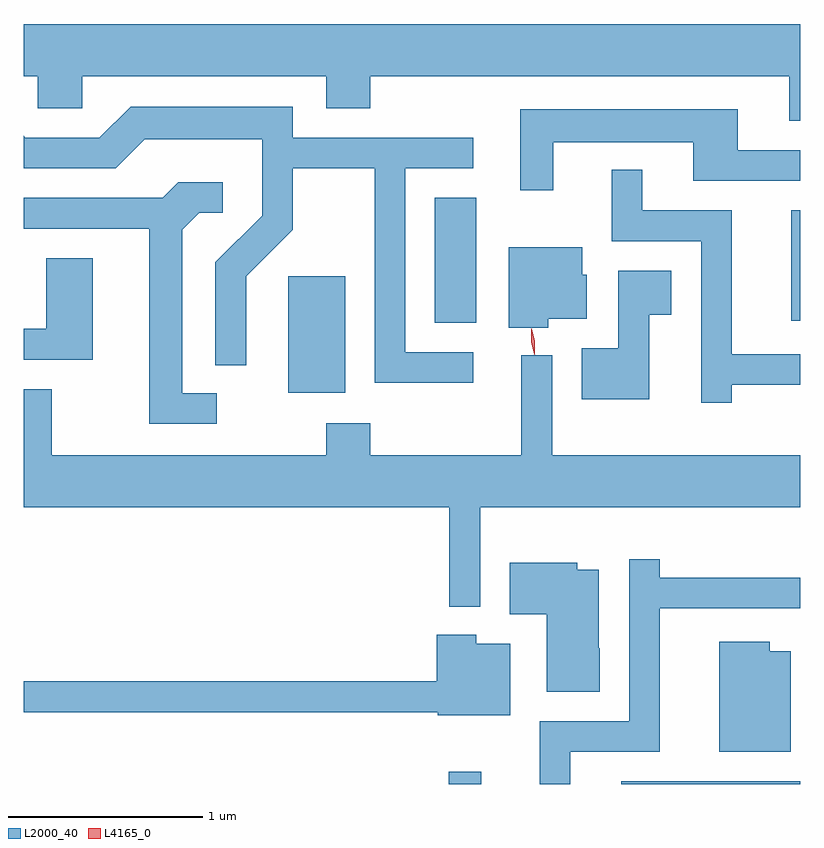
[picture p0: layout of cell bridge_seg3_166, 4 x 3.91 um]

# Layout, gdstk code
import gdstk
lib = gdstk.Library(unit=1e-6, precision=1e-09)
def R(c, l, rs):  # rectangles x0, y0, x1, y1
    for r in rs: c.add(gdstk.rectangle(r[:2], r[2:], *l))
def P(c, l, *ps):  # polygons
    for p in ps: c.add(gdstk.Polygon(p, *l))
L2000_40 = (2000, 40)
L4165_0 = (4165, 0)

bridge_seg3_166 = lib.new_cell('bridge_seg3_166')
R(bridge_seg3_166, L2000_40, [(861.741,1217.831,861.909,1217.893), (862.631,1217.831,863.553,1217.844), (860.916,1219.846,861.209,1220.444), (861.671,1220.206,861.884,1220.849), (863.506,1220.216,863.553,1220.784)])
P(bridge_seg3_166, L2000_40, [(863.553,1221.744),(859.553,1221.744),(859.553,1221.476),(859.626,1221.476),(859.626,1221.311),(859.854,1221.311),(859.854,1221.476),(861.111,1221.476),(861.111,1221.311),(861.339,1221.311),(861.339,1221.476),(863.496,1221.476),(863.496,1221.246),(863.553,1221.246)],
  [(861.868,1220.054),(861.519,1220.054),(861.519,1221.001),(861.868,1221.001),(861.868,1221.159),(860.939,1221.159),(860.939,1221.319),(860.104,1221.319),(859.944,1221.159),(859.562,1221.159),(859.553,1221.168),(859.553,1221.001),(860.027,1221.001),(860.177,1221.151),(860.781,1221.151),(860.781,1220.757),(860.541,1220.517),(860.541,1219.988),(860.699,1219.988),(860.699,1220.444),(860.939,1220.684),(860.939,1221.001),(861.361,1221.001),(861.361,1219.896),(861.868,1219.896)],
  [(862.279,1221.136),(863.001,1221.136),(863.001,1220.936),(863.553,1220.936),(863.553,1221.094),(863.229,1221.094),(863.229,1221.304),(862.111,1221.304),(862.111,1220.888),(862.279,1220.888)],
  [(863.199,1219.886),(863.553,1219.886),(863.553,1220.044),(863.199,1220.044),(863.199,1220.784),(862.739,1220.784),(862.739,1220.993),(862.581,1220.993),(862.581,1220.626),(863.041,1220.626),(863.041,1219.793),(863.199,1219.793)],
  [(860.548,1219.844),(860.369,1219.844),(860.369,1220.684),(860.457,1220.771),(860.578,1220.771),(860.578,1220.929),(860.349,1220.929),(860.269,1220.849),(859.553,1220.849),(859.553,1220.691),(860.201,1220.691),(860.201,1219.686),(860.548,1219.686)],
  [(862.254,1220.226),(862.454,1220.226),(862.454,1220.454),(862.429,1220.454),(862.429,1220.594),(862.051,1220.594),(862.051,1220.181),(862.254,1220.181)],
  [(859.909,1220.539),(859.671,1220.539),(859.671,1220.174),(859.553,1220.174),(859.553,1220.016),(859.909,1220.016)],
  [(862.774,1220.246),(862.889,1220.246),(862.889,1220.474),(862.616,1220.474),(862.616,1220.074),(862.426,1220.074),(862.426,1219.811),(862.774,1219.811)],
  [(862.116,1220.038),(862.116,1219.524),(861.339,1219.524),(861.339,1219.689),(861.111,1219.689),(861.111,1219.524),(859.699,1219.524),(859.699,1219.864),(859.553,1219.864),(859.553,1219.256),(861.746,1219.256),(861.746,1218.743),(861.904,1218.743),(861.904,1219.256),(863.553,1219.256),(863.553,1219.524),(862.274,1219.524),(862.274,1220.038)],
  [(862.369,1217.996),(862.829,1217.996),(862.829,1218.736),(863.553,1218.736),(863.553,1218.894),(862.829,1218.894),(862.829,1218.988),(862.671,1218.988),(862.671,1218.154),(862.211,1218.154),(862.211,1217.831),(862.369,1217.831)],
  [(862.519,1218.53),(862.514,1218.53),(862.514,1218.934),(862.404,1218.934),(862.404,1218.969),(862.056,1218.969),(862.056,1218.706),(862.246,1218.706),(862.246,1218.306),(862.519,1218.306)],
  [(862.059,1218.554),(861.884,1218.554),(861.884,1218.599),(861.681,1218.599),(861.681,1218.359),(859.553,1218.359),(859.553,1218.201),(861.685,1218.201),(861.685,1218.186),(862.059,1218.186)],
  [(863.504,1218.514),(863.394,1218.514),(863.394,1218.564),(863.136,1218.564),(863.136,1217.996),(863.504,1217.996)])
P(bridge_seg3_166, L4165_0, [(862.184,1220.042),(862.183,1220.043),(862.166,1220.108),(862.168,1220.174),(862.168,1220.175),(862.169,1220.174),(862.186,1220.11),(862.184,1220.043)])

lib.write_gds('bridge_seg3_166.gds')
